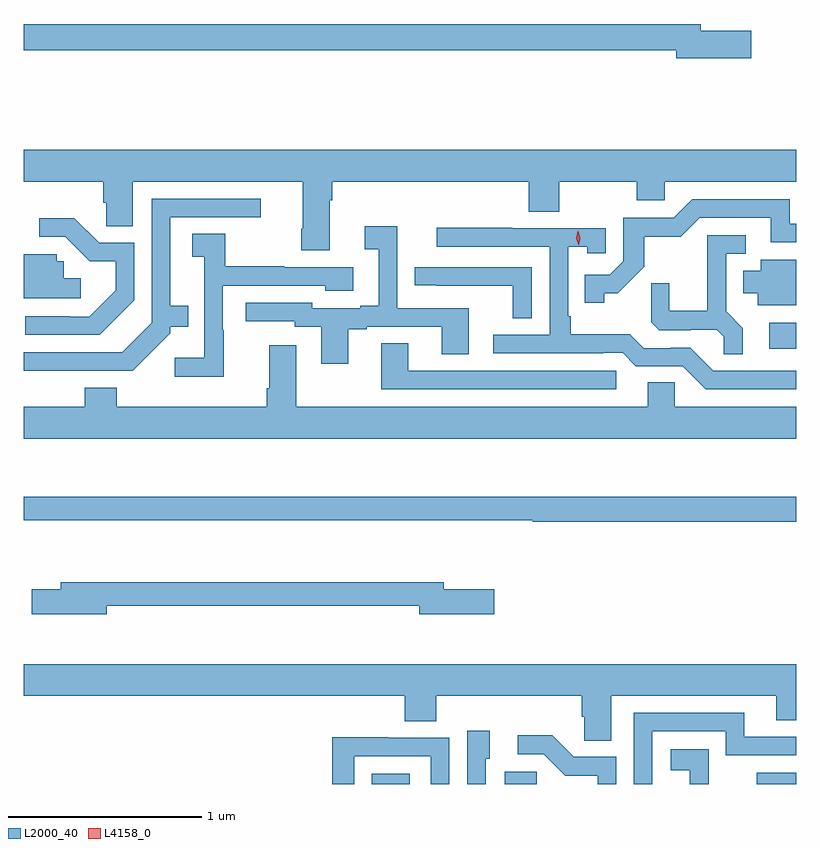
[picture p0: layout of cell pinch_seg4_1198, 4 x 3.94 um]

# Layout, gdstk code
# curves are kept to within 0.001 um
import gdstk
lib = gdstk.Library(unit=1e-6, precision=1e-09)
def R(c, l, rs):  # rectangles x0, y0, x1, y1
    for r in rs: c.add(gdstk.rectangle(r[:2], r[2:], *l))
def P(c, l, *ps):  # polygons
    for p in ps: c.add(gdstk.Polygon(p, *l))
L2000_40 = (2000, 40)
L4158_0 = (4158, 0)

pinch_seg4_1198 = lib.new_cell('pinch_seg4_1198')
R(pinch_seg4_1198, L2000_40, [(375.554,821.671,375.751,821.725), (376.244,821.671,376.41,821.734), (377.548,821.671,377.753,821.73), (377.613,823.925,377.753,824.061)])
P(pinch_seg4_1198, L2000_40, [(377.521,825.572),(377.26,825.572),(377.26,825.608),(373.753,825.608),(373.753,825.472),(377.132,825.472),(377.132,825.43),(377.521,825.43)],
  [(375.337,824.696),(375.35,824.696),(375.35,824.792),(376.367,824.792),(376.367,824.635),(376.527,824.635),(376.527,824.792),(376.927,824.792),(376.927,824.694),(377.073,824.694),(377.073,824.792),(377.753,824.792),(377.753,824.956),(373.753,824.956),(373.753,824.792),(374.165,824.792),(374.165,824.682),(374.179,824.682),(374.179,824.56),(374.317,824.56),(374.317,824.792),(375.197,824.792),(375.197,824.548),(375.19,824.548),(375.19,824.436),(375.337,824.436)],
  [(373.985,823.812),(374.316,823.812),(374.511,824.007),(374.511,824.039),(374.603,824.039),(374.603,824.149),(374.512,824.149),(374.512,824.607),(374.98,824.607),(374.98,824.703),(374.415,824.703),(374.415,824.061),(374.262,823.908),(373.753,823.908),(373.753,823.811)],
  [(376.758,824.213),(376.828,824.213),(376.966,824.35),(376.966,824.506),(377.155,824.506),(377.253,824.604),(377.621,824.604),(377.621,824.478),(377.753,824.478),(377.753,824.574),(377.72,824.574),(377.72,824.7),(377.214,824.7),(377.118,824.604),(376.857,824.604),(376.857,824.379),(376.788,824.31),(376.657,824.31),(376.657,824.163),(376.758,824.163)],
  [(374.325,824.177),(374.325,824.475),(374.142,824.475),(374.014,824.603),(373.833,824.603),(373.833,824.505),(373.968,824.505),(374.095,824.378),(374.228,824.378),(374.228,824.228),(374.091,824.091),(373.991,824.091),(373.991,824.094),(373.761,824.094),(373.761,823.998),(374.146,823.998)],
  [(375.433,824.028),(375.529,824.028),(375.529,824.04),(375.917,824.04),(375.917,823.897),(376.057,823.897),(376.057,824.136),(375.687,824.136),(375.687,824.56),(375.519,824.56),(375.519,824.44),(375.59,824.44),(375.59,824.149),(375.494,824.149),(375.494,824.136),(375.246,824.136),(375.246,824.163),(374.901,824.163),(374.901,824.067),(375.156,824.067),(375.156,824.04),(375.293,824.04),(375.293,823.848),(375.433,823.848)],
  [(377.753,823.812),(377.325,823.812),(377.205,823.932),(377.104,823.932),(377.104,823.929),(376.965,823.929),(376.892,824.002),(376.585,824.002),(376.585,824.095),(376.572,824.095),(376.572,824.453),(376.671,824.453),(376.671,824.421),(376.767,824.421),(376.767,824.55),(376.283,824.55),(376.283,824.553),(375.891,824.553),(375.891,824.454),(376.476,824.454),(376.476,823.998),(376.185,823.998),(376.185,823.902),(376.754,823.902),(376.754,823.905),(376.854,823.905),(376.923,823.836),(377.166,823.836),(377.286,823.716),(377.753,823.716)],
  [(374.787,824.021),(374.784,824.021),(374.784,824.253),(375.315,824.253),(375.315,824.225),(375.46,824.225),(375.46,824.349),(375.101,824.349),(375.101,824.352),(374.797,824.352),(374.797,824.522),(374.625,824.522),(374.625,824.401),(374.688,824.401),(374.688,823.879),(374.535,823.879),(374.535,823.781),(374.787,823.781)],
  [(377.477,824.033),(377.391,824.119),(377.391,824.418),(377.491,824.418),(377.491,824.514),(377.294,824.514),(377.294,824.122),(377.096,824.122),(377.096,824.265),(377.002,824.265),(377.002,824.063),(377.043,824.022),(377.208,824.022),(377.208,824.025),(377.342,824.025),(377.379,823.988),(377.379,823.897),(377.477,823.897)],
  [(374.047,824.29),(373.959,824.29),(373.959,824.379),(373.923,824.379),(373.923,824.415),(373.753,824.415),(373.753,824.187),(374.047,824.187)],
  [(377.753,824.386),(377.57,824.386),(377.57,824.329),(377.48,824.329),(377.48,824.213),(377.555,824.213),(377.555,824.15),(377.753,824.15)],
  [(376.383,824.349),(375.777,824.349),(375.777,824.254),(375.889,824.254),(375.889,824.253),(376.285,824.253),(376.285,824.083),(376.383,824.083)],
  [(376.822,823.812),(375.745,823.812),(375.745,823.955),(375.605,823.955),(375.605,823.716),(376.822,823.716)],
  [(377.753,823.624),(377.124,823.624),(377.124,823.751),(376.985,823.751),(376.985,823.624),(375.163,823.624),(375.163,823.945),(375.023,823.945),(375.023,823.72),(375.011,823.72),(375.011,823.624),(374.234,823.624),(374.234,823.723),(374.069,823.723),(374.069,823.624),(373.753,823.624),(373.753,823.46),(377.753,823.46)],
  [(377.753,823.159),(373.753,823.159),(373.753,823.038),(376.39,823.038),(376.39,823.03),(377.753,823.03)],
  [(374.182,822.594),(375.8,822.594),(375.8,822.551),(376.189,822.551),(376.189,822.681),(375.928,822.681),(375.928,822.715),(373.943,822.715),(373.943,822.681),(373.794,822.681),(373.794,822.551),(374.182,822.551)],
  [(376.795,822.128),(377.651,822.128),(377.651,822.001),(377.753,822.001),(377.753,822.292),(373.753,822.292),(373.753,822.128),(375.725,822.128),(375.725,821.995),(375.89,821.995),(375.89,822.128),(376.643,822.128),(376.643,822.019),(376.656,822.019),(376.656,821.896),(376.795,821.896)],
  [(377.007,821.943),(377.388,821.943),(377.388,821.82),(377.753,821.82),(377.753,821.916),(377.485,821.916),(377.485,822.039),(376.911,822.039),(376.911,821.671),(377.007,821.671)],
  [(376.146,821.802),(376.165,821.802),(376.165,821.947),(376.05,821.947),(376.05,821.671),(376.146,821.671)],
  [(376.821,821.811),(376.602,821.811),(376.489,821.924),(376.311,821.924),(376.311,821.826),(376.445,821.826),(376.556,821.715),(376.725,821.715),(376.725,821.671),(376.821,821.671)],
  [(375.465,821.814),(375.861,821.814),(375.861,821.671),(375.957,821.671),(375.957,821.91),(375.641,821.91),(375.641,821.912),(375.349,821.912),(375.349,821.671),(375.465,821.671)],
  [(377.301,821.851),(377.103,821.851),(377.103,821.741),(377.201,821.741),(377.201,821.671),(377.301,821.671)])
P(pinch_seg4_1198, L4158_0, [(376.626,824.463),(376.626,824.463),(376.615,824.498),(376.623,824.535),(376.623,824.535),(376.624,824.535),(376.635,824.499),(376.626,824.463)])

lib.write_gds('pinch_seg4_1198.gds')
